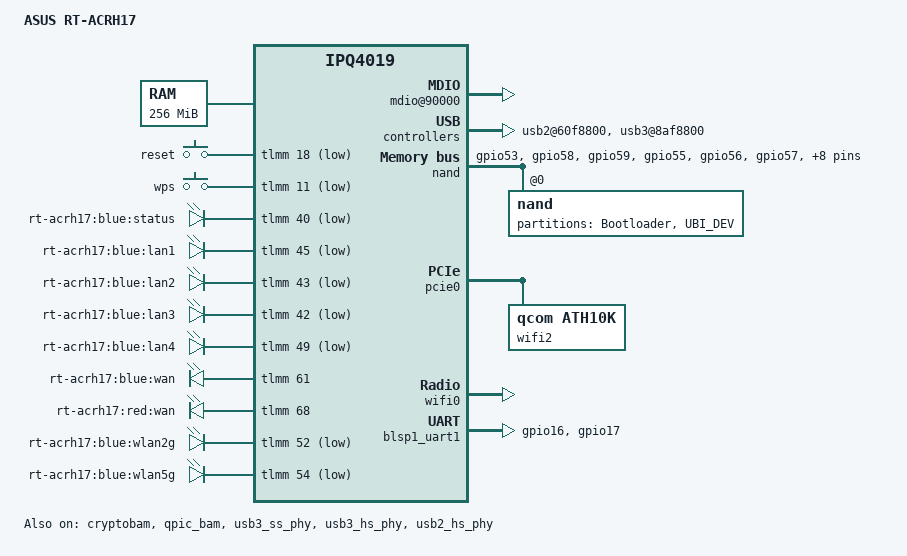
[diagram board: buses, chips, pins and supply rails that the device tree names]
/* Copyright (c) 2015, The Linux Foundation. All rights reserved.
 *
 * Permission to use, copy, modify, and/or distribute this software for any
 * purpose with or without fee is hereby granted, provided that the above
 * copyright notice and this permission notice appear in all copies.
 *
 * THE SOFTWARE IS PROVIDED "AS IS" AND THE AUTHOR DISCLAIMS ALL WARRANTIES
 * WITH REGARD TO THIS SOFTWARE INCLUDING ALL IMPLIED WARRANTIES OF
 * MERCHANTABILITY AND FITNESS. IN NO EVENT SHALL THE AUTHOR BE LIABLE FOR
 * ANY SPECIAL, DIRECT, INDIRECT, OR CONSEQUENTIAL DAMAGES OR ANY DAMAGES
 * WHATSOEVER RESULTING FROM LOSS OF USE, DATA OR PROFITS, WHETHER IN AN
 * ACTION OF CONTRACT, NEGLIGENCE OR OTHER TORTIOUS ACTION, ARISING OUT OF
 * OR IN CONNECTION WITH THE USE OR PERFORMANCE OF THIS SOFTWARE.
 *
 */

#include "qcom-ipq4019.dtsi"
#include <dt-bindings/gpio/gpio.h>
#include <dt-bindings/input/input.h>
#include <dt-bindings/soc/qcom,tcsr.h>

/ {
	model = "ASUS RT-ACRH17";
	compatible = "asus,rt-acrh17";

	memory {
		device_type = "memory";
		reg = <0x80000000 0x10000000>;
	};

	aliases {
		led-boot = &power;
		led-failsafe = &power;
		led-running = &power;
		led-upgrade = &power;
	};

	chosen {
		bootargs-append = " ubi.mtd=UBI_DEV";
	};

	soc {
		rng@22000 {
			status = "okay";
		};

		mdio@90000 {
			status = "okay";
		};

		ess-psgmii@98000 {
			status = "okay";
		};

		tcsr@1949000 {
			compatible = "qcom,tcsr";
			reg = <0x1949000 0x100>;
			qcom,wifi_glb_cfg = <TCSR_WIFI_GLB_CFG>;
		};

		tcsr@194b000 {
			compatible = "qcom,tcsr";
			reg = <0x194b000 0x100>;
			qcom,usb-hsphy-mode-select = <TCSR_USB_HSPHY_HOST_MODE>;
		};

		ess_tcsr@1953000 {
			compatible = "qcom,tcsr";
			reg = <0x1953000 0x1000>;
			qcom,ess-interface-select = <TCSR_ESS_PSGMII>;
		};

		tcsr@1957000 {
			compatible = "qcom,tcsr";
			reg = <0x1957000 0x100>;
			qcom,wifi_noc_memtype_m0_m2 = <TCSR_WIFI_NOC_MEMTYPE_M0_M2>;
		};

		usb2@60f8800 {
			status = "okay";
		};

		usb3@8af8800 {
			status = "okay";
		};

		crypto@8e3a000 {
			status = "okay";
		};

		watchdog@b017000 {
			status = "okay";
		};

		ess-switch@c000000 {
			status = "okay";
		};

		edma@c080000 {
			status = "okay";
		};
	};

	keys {
		compatible = "gpio-keys";

		reset {
			label = "reset";
			gpios = <&tlmm 18 GPIO_ACTIVE_LOW>;
			linux,code = <KEY_RESTART>;
		};

		wps {
			label = "wps";
			gpios = <&tlmm 11 GPIO_ACTIVE_LOW>;
			linux,code = <KEY_WPS_BUTTON>;
		};
	};

	leds {
		compatible = "gpio-leds";

		power: status {
			label = "rt-acrh17:blue:status";
			gpios = <&tlmm 40 GPIO_ACTIVE_LOW>;
		};

		lan1 {
			label = "rt-acrh17:blue:lan1";
			gpios = <&tlmm 45 GPIO_ACTIVE_LOW>;
		};

		lan2 {
			label = "rt-acrh17:blue:lan2";
			gpios = <&tlmm 43 GPIO_ACTIVE_LOW>;
		};

		lan3 {
			label = "rt-acrh17:blue:lan3";
			gpios = <&tlmm 42 GPIO_ACTIVE_LOW>;
		};

		lan4 {
			label = "rt-acrh17:blue:lan4";
			gpios = <&tlmm 49 GPIO_ACTIVE_LOW>;
		};

		wan_blue {
			label = "rt-acrh17:blue:wan";
			gpios = <&tlmm 61 GPIO_ACTIVE_HIGH>;
		};

		wan_red {
			label = "rt-acrh17:red:wan";
			gpios = <&tlmm 68 GPIO_ACTIVE_HIGH>;
		};

		wlan2g {
			label = "rt-acrh17:blue:wlan2g";
			gpios = <&tlmm 52 GPIO_ACTIVE_LOW>;
		};

		wlan5g {
			label = "rt-acrh17:blue:wlan5g";
			gpios = <&tlmm 54 GPIO_ACTIVE_LOW>;
		};
	};
};

&cryptobam {
	status = "okay";
};

&blsp_dma {
	status = "okay";
};

&qpic_bam {
	status = "okay";
};

&nand {
	pinctrl-0 = <&nand_pins>;
	pinctrl-names = "default";
	status = "okay";

	nand@0 {
		partitions {
			compatible = "fixed-partitions";
			#address-cells = <1>;
			#size-cells = <1>;

			partition@0 {
				label = "Bootloader";
				reg = <0x000000000000 0x000000400000>;
				read-only;
			};
			partition@400000 {
				label = "UBI_DEV";
				reg = <0x000000400000 0x000007C00000>;
			};
		};
	};
};

&tlmm {
	serial_pins: serial_pinmux {
		mux {
			pins = "gpio16", "gpio17";
			function = "blsp_uart0";
			bias-disable;
		};
	};

	nand_pins: nand_pins {
		pullups {
			pins = "gpio53", "gpio58",
				 "gpio59";
			function = "qpic";
			bias-pull-up;
		};

		pulldowns {
			pins = "gpio55", "gpio56",
				 "gpio57", "gpio60",
				 "gpio62", "gpio63", "gpio64",
				 "gpio65", "gpio66", "gpio67",
				 "gpio69";
			function = "qpic";
			bias-pull-down;
		};
	};
};

&pcie0 {
	status = "okay";
	perst-gpio = <&tlmm 38 GPIO_ACTIVE_LOW>;
	wake-gpio = <&tlmm 50 GPIO_ACTIVE_LOW>;
	/* overwrite interrupts */
	interrupts = <GIC_SPI 141 IRQ_TYPE_NONE>;

	bridge@0,0 {
		reg = <0x00000000 0 0 0 0>;
		#address-cells = <3>;
		#size-cells = <2>;
		ranges;

		wifi2: wifi@1,0 {
			compatible = "qcom,ath10k";
			status = "okay";
			reg = <0x00010000 0 0 0 0>;
		};
	};
};

&wifi0 {
	status = "okay";
	qcom,ath10k-calibration-variant = "RT-ACRH17";
};

&blsp1_uart1 {
	pinctrl-0 = <&serial_pins>;
	pinctrl-names = "default";
	status = "okay";
};

&usb3_ss_phy {
	status = "okay";
};

&usb3_hs_phy {
	status = "okay";
};

&usb2_hs_phy {
	status = "okay";
};
